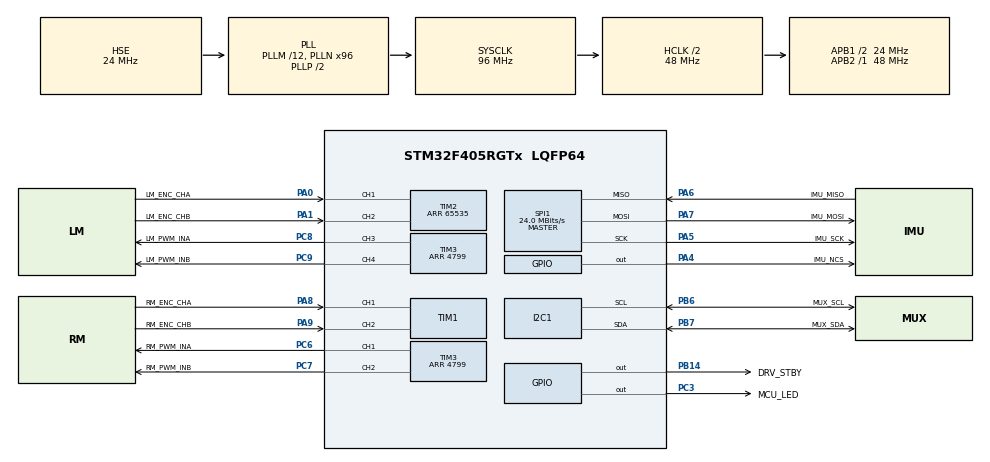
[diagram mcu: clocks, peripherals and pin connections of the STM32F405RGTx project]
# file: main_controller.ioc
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Mcu.Family=STM32F4
Mcu.Name=STM32F405RGTx
Mcu.Package=LQFP64
NVIC.PriorityGroup=NVIC_PRIORITYGROUP_4
PA0-WKUP.GPIO_Label=LM_ENC_CHA
PA0-WKUP.Signal=S_TIM2_CH1_ETR
PA1.GPIO_Label=LM_ENC_CHB
PA1.Signal=S_TIM2_CH2
PA13.Mode=Trace_Asynchronous_SW
PA13.Signal=SYS_JTMS-SWDIO
PA14.Mode=Trace_Asynchronous_SW
PA14.Signal=SYS_JTCK-SWCLK
PA4.GPIO_Label=IMU_NCS
PA4.Signal=GPIO_Output
PA5.GPIO_Label=IMU_SCK
PA5.Mode=Full_Duplex_Master
PA5.Signal=SPI1_SCK
PA6.GPIO_Label=IMU_MISO
PA6.Mode=Full_Duplex_Master
PA6.Signal=SPI1_MISO
PA7.GPIO_Label=IMU_MOSI
PA7.Mode=Full_Duplex_Master
PA7.Signal=SPI1_MOSI
PA8.GPIO_Label=RM_ENC_CHA
PA8.Signal=S_TIM1_CH1
PA9.GPIO_Label=RM_ENC_CHB
PA9.Signal=S_TIM1_CH2
PB14.GPIO_Label=DRV_STBY
PB14.Signal=GPIO_Output
PB3.Mode=Trace_Asynchronous_SW
PB3.Signal=SYS_JTDO-SWO
PB6.GPIO_Label=MUX_SCL
PB6.Mode=I2C
PB6.Signal=I2C1_SCL
PB7.GPIO_Label=MUX_SDA
PB7.Mode=I2C
PB7.Signal=I2C1_SDA
PC3.GPIO_Label=MCU_LED
PC3.Signal=GPIO_Output
PC6.GPIO_Label=RM_PWM_INA
PC6.Signal=S_TIM3_CH1
PC7.GPIO_Label=RM_PWM_INB
PC7.Signal=S_TIM3_CH2
PC8.GPIO_Label=LM_PWM_INA
PC8.Signal=S_TIM3_CH3
PC9.GPIO_Label=LM_PWM_INB
PC9.Signal=S_TIM3_CH4
PH0-OSC_IN.Mode=HSE-External-Oscillator
PH0-OSC_IN.Signal=RCC_OSC_IN
PH1-OSC_OUT.Mode=HSE-External-Oscillator
PH1-OSC_OUT.Signal=RCC_OSC_OUT
ProjectManager.HeapSize=0x200
ProjectManager.StackSize=0x400
ProjectManager.TargetToolchain=CMake
RCC.48MHZClocksFreq_Value=48000000
RCC.AHBCLKDivider=RCC_SYSCLK_DIV2
RCC.AHBFreq_Value=48000000
RCC.APB1CLKDivider=RCC_HCLK_DIV2
RCC.APB1Freq_Value=24000000
RCC.APB1TimFreq_Value=48000000
RCC.APB2Freq_Value=48000000
RCC.APB2TimFreq_Value=48000000
RCC.CortexFreq_Value=48000000
RCC.HCLKFreq_Value=48000000
RCC.HSE_VALUE=24000000
RCC.HSI_VALUE=16000000
RCC.LSE_VALUE=32768
RCC.PLLM=12
RCC.PLLN=96
RCC.PLLSourceVirtual=RCC_PLLSOURCE_HSE
RCC.SYSCLKFreq_VALUE=96000000
RCC.SYSCLKSource=RCC_SYSCLKSOURCE_PLLCLK
RCC.VCOOutputFreq_Value=192000000
SH.S_TIM1_CH1.0=TIM1_CH1,Encoder_Interface
SH.S_TIM1_CH2.0=TIM1_CH2,Encoder_Interface
SH.S_TIM2_CH1_ETR.0=TIM2_CH1,Encoder_Interface
SH.S_TIM2_CH2.0=TIM2_CH2,Encoder_Interface
SH.S_TIM3_CH1.0=TIM3_CH1,PWM Generation1 CH1
SH.S_TIM3_CH2.0=TIM3_CH2,PWM Generation2 CH2
SH.S_TIM3_CH3.0=TIM3_CH3,PWM Generation3 CH3
SH.S_TIM3_CH4.0=TIM3_CH4,PWM Generation4 CH4
SPI1.CalculateBaudRate=24.0 MBits/s
SPI1.Direction=SPI_DIRECTION_2LINES
SPI1.Mode=SPI_MODE_MASTER
SPI1.VirtualType=VM_MASTER
TIM1.EncoderMode=TIM_ENCODERMODE_TI12
TIM2.EncoderMode=TIM_ENCODERMODE_TI12
TIM2.Period=65535
TIM3.Channel-PWM\ Generation1\ CH1=TIM_CHANNEL_1
TIM3.Channel-PWM\ Generation2\ CH2=TIM_CHANNEL_2
TIM3.Channel-PWM\ Generation3\ CH3=TIM_CHANNEL_3
TIM3.Channel-PWM\ Generation4\ CH4=TIM_CHANNEL_4
TIM3.Period=4799
board=custom

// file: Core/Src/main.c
/* USER CODE BEGIN Header */
/**
  ******************************************************************************
  * @file           : main.c
  * @brief          : Main program body
  ******************************************************************************
  * @attention
  *
  * Copyright (c) 2026 STMicroelectronics.
  * All rights reserved.
  *
  * This software is licensed under terms that can be found in the LICENSE file
  * in the root directory of this software component.
  * If no LICENSE file comes with this software, it is provided AS-IS.
  *
  ******************************************************************************
  */
/* USER CODE END Header */
#include "main.h"

/* USER CODE BEGIN Includes */
#include "DRV8833.h"
#include "dwt_timer.h"
#include "straightline_controller.h"
#include "turn_controller.h"
#include "test_harness.h"
#include "tof_sensors.h"
/* USER CODE END Includes */

/* USER CODE BEGIN PD */

/* Test selection, test parameters, and all on-target test routines live in
 * test_harness.h / test_harness.c, not here. main.c only brings up hardware
 * and hands control to TestHarness_RunCycle(). */

/* USER CODE END PD */

I2C_HandleTypeDef hi2c1;

SPI_HandleTypeDef hspi1;

TIM_HandleTypeDef htim1;
TIM_HandleTypeDef htim2;
TIM_HandleTypeDef htim3;

/* USER CODE BEGIN PV */

/* All tm_* live-watch telemetry globals are defined in test_harness.c and
 * declared extern in test_harness.h. Add their names to the "liveWatch"
 * expressions list in .vscode/launch.json to observe them while the robot
 * runs. */

/* USER CODE END PV */

void SystemClock_Config(void);
static void MX_GPIO_Init(void);
static void MX_TIM1_Init(void);
static void MX_TIM2_Init(void);
static void MX_TIM3_Init(void);
static void MX_SPI1_Init(void);
static void MX_I2C1_Init(void);

/* USER CODE BEGIN 0 */

/* All test routines (LED_Blink, Telemetry_Capture, Test_* etc.) moved to
 * test_harness.c. main.c only calls TestHarness_RunCycle() from the loop
 * below. */

/* USER CODE END 0 */

int main(void)
{

  /* MCU Configuration--------------------------------------------------------*/

  /* Reset of all peripherals, Initializes the Flash interface and the Systick. */
  HAL_Init();

  /* Configure the system clock */
  SystemClock_Config();

  /* Initialize all configured peripherals */
  MX_GPIO_Init();
  MX_TIM1_Init();
  MX_TIM2_Init();
  MX_TIM3_Init();
  MX_SPI1_Init();
  MX_I2C1_Init();
  /* USER CODE BEGIN 2 */

  /* Start the quadrature encoder interfaces. CubeMX configures the timers but
   * does not start them, so without this the counters never move. */
  HAL_TIM_Encoder_Start(&htim1, TIM_CHANNEL_ALL);   /* right encoder */
  HAL_TIM_Encoder_Start(&htim2, TIM_CHANNEL_ALL);   /* left encoder  */

  /* Start the four motor PWM channels (2 per motor, IN/IN drive mode). */
  HAL_TIM_PWM_Start(&htim3, TIM_CHANNEL_1);   /* RM_PWM_INA */
  HAL_TIM_PWM_Start(&htim3, TIM_CHANNEL_2);   /* RM_PWM_INB */
  HAL_TIM_PWM_Start(&htim3, TIM_CHANNEL_3);   /* LM_PWM_INA */
  HAL_TIM_PWM_Start(&htim3, TIM_CHANNEL_4);   /* LM_PWM_INB */

  /* Make sure nothing is driven until a test asks for it. */
  Motor_Brake();

  /* Microsecond timebase for the EKF prediction step. Must come before any
   * controller init, since TurnController_Init() times its gyro calibration
   * with it. */
  DWT_Timer_Init();

  /* CubeMX drives IMU_NCS LOW in MX_GPIO_Init(), but SPI chip select must
   * IDLE HIGH or the first transaction is framed wrong. Deassert it before
   * talking to the IMU. */
  HAL_GPIO_WritePin(IMU_NCS_GPIO_Port, IMU_NCS_Pin, GPIO_PIN_SET);
  HAL_Delay(50);

  /* Bring up both controllers. Each pulls its gains from control_config.h.
   * Both call Encoders_Init() and MotorDriver_Enable() internally, which is
   * idempotent, so initialising both here is safe.
   *
   * TurnController_Init() also brings up the IMU and runs the stationary gyro
   * bias calibration, so THE ROBOT MUST BE STILL AND LEVEL AT POWER-ON. */
  StraightlineController_Init();
  tm_imu_ok = TurnController_Init();

  /* Startup indication.
   *   3 slow blinks           = IMU up, bias calibrated, fusion active
   *   3 slow THEN 6 fast      = IMU up but bias calibration was REJECTED.
   *                             Turns still run, but on an unestimated gyro
   *                             bias. Read turn_bias_cal_status for the
   *                             reason (moved during calibration vs. a
   *                             failed gyro read).
   *   6 fast blinks           = IMU not found, running encoder-only */
  if (tm_imu_ok) {
    LED_Blink(3, 300, 300);

    if (!TurnController_IsBiasCalibrated()) {
      LED_Blink(6, 80, 80);
    }
  }
  else {
    LED_Blink(6, 80, 80);
  }

  tm_gyro_bias_dps = TurnController_GetGyroBiasDps();

  /* Bring up the TCA9548A mux and the three VL53L0X ranging sensors.
   *
   * This takes noticeably longer than the other peripherals: each sensor runs
   * reference SPAD management and VHV/phase calibration, so budget ~50-100 ms
   * per sensor.
   *
   * Like the IMU, a failure here is NOT fatal. Nothing in the motion
   * controllers consumes range data yet, so a dead sensor must not stop the
   * robot from driving. 2 fast blinks flags it; tm_tof_ready says which
   * sensors actually came up. */
  if (ToF_Init() != TOF_OK) {
    LED_Blink(2, 80, 80);
  }

  TestHarness_CaptureToFReady();

  /* Settling delay so the robot is not already moving when you take your
   * hand off it. */
  HAL_Delay(2000);

  /* USER CODE END 2 */

  /* Infinite loop */
  while (1)
  {

    /* USER CODE BEGIN 3 */

    /* Runs whichever test ACTIVE_TEST selects (test_harness.h), including
     * its cycle pause. See test_harness.c for the dispatch and routines. */
    TestHarness_RunCycle();
  }
  /* USER CODE END 3 */
}

void SystemClock_Config(void)
{
  RCC_OscInitTypeDef RCC_OscInitStruct = {0};
  RCC_ClkInitTypeDef RCC_ClkInitStruct = {0};

  /** Configure the main internal regulator output voltage
  */
  __HAL_RCC_PWR_CLK_ENABLE();
  __HAL_PWR_VOLTAGESCALING_CONFIG(PWR_REGULATOR_VOLTAGE_SCALE1);

  /** Initializes the RCC Oscillators according to the specified parameters
  * in the RCC_OscInitTypeDef structure.
  */
  RCC_OscInitStruct.OscillatorType = RCC_OSCILLATORTYPE_HSE;
  RCC_OscInitStruct.HSEState = RCC_HSE_ON;
  RCC_OscInitStruct.PLL.PLLState = RCC_PLL_ON;
  RCC_OscInitStruct.PLL.PLLSource = RCC_PLLSOURCE_HSE;
  RCC_OscInitStruct.PLL.PLLM = 12;
  RCC_OscInitStruct.PLL.PLLN = 96;
  RCC_OscInitStruct.PLL.PLLP = RCC_PLLP_DIV2;
  RCC_OscInitStruct.PLL.PLLQ = 4;
  if (HAL_RCC_OscConfig(&RCC_OscInitStruct) != HAL_OK)
  {
    Error_Handler();
  }

  /** Initializes the CPU, AHB and APB buses clocks
  */
  RCC_ClkInitStruct.ClockType = RCC_CLOCKTYPE_HCLK|RCC_CLOCKTYPE_SYSCLK
                              |RCC_CLOCKTYPE_PCLK1|RCC_CLOCKTYPE_PCLK2;
  RCC_ClkInitStruct.SYSCLKSource = RCC_SYSCLKSOURCE_PLLCLK;
  RCC_ClkInitStruct.AHBCLKDivider = RCC_SYSCLK_DIV2;
  RCC_ClkInitStruct.APB1CLKDivider = RCC_HCLK_DIV2;
  RCC_ClkInitStruct.APB2CLKDivider = RCC_HCLK_DIV1;

  if (HAL_RCC_ClockConfig(&RCC_ClkInitStruct, FLASH_LATENCY_1) != HAL_OK)
  {
    Error_Handler();
  }
}

static void MX_I2C1_Init(void)
{

  hi2c1.Instance = I2C1;
  hi2c1.Init.ClockSpeed = 100000;
  hi2c1.Init.DutyCycle = I2C_DUTYCYCLE_2;
  hi2c1.Init.OwnAddress1 = 0;
  hi2c1.Init.AddressingMode = I2C_ADDRESSINGMODE_7BIT;
  hi2c1.Init.DualAddressMode = I2C_DUALADDRESS_DISABLE;
  hi2c1.Init.OwnAddress2 = 0;
  hi2c1.Init.GeneralCallMode = I2C_GENERALCALL_DISABLE;
  hi2c1.Init.NoStretchMode = I2C_NOSTRETCH_DISABLE;
  if (HAL_I2C_Init(&hi2c1) != HAL_OK)
  {
    Error_Handler();
  }

}

static void MX_SPI1_Init(void)
{

  /* SPI1 parameter configuration*/
  hspi1.Instance = SPI1;
  hspi1.Init.Mode = SPI_MODE_MASTER;
  hspi1.Init.Direction = SPI_DIRECTION_2LINES;
  hspi1.Init.DataSize = SPI_DATASIZE_8BIT;
  hspi1.Init.CLKPolarity = SPI_POLARITY_LOW;
  hspi1.Init.CLKPhase = SPI_PHASE_1EDGE;
  hspi1.Init.NSS = SPI_NSS_SOFT;
  hspi1.Init.BaudRatePrescaler = SPI_BAUDRATEPRESCALER_2;
  hspi1.Init.FirstBit = SPI_FIRSTBIT_MSB;
  hspi1.Init.TIMode = SPI_TIMODE_DISABLE;
  hspi1.Init.CRCCalculation = SPI_CRCCALCULATION_DISABLE;
  hspi1.Init.CRCPolynomial = 10;
  if (HAL_SPI_Init(&hspi1) != HAL_OK)
  {
    Error_Handler();
  }

}

static void MX_TIM1_Init(void)
{

  TIM_Encoder_InitTypeDef sConfig = {0};
  TIM_MasterConfigTypeDef sMasterConfig = {0};

  htim1.Instance = TIM1;
  htim1.Init.Prescaler = 0;
  htim1.Init.CounterMode = TIM_COUNTERMODE_UP;
  htim1.Init.Period = 65535;
  htim1.Init.ClockDivision = TIM_CLOCKDIVISION_DIV1;
  htim1.Init.RepetitionCounter = 0;
  htim1.Init.AutoReloadPreload = TIM_AUTORELOAD_PRELOAD_DISABLE;
  sConfig.EncoderMode = TIM_ENCODERMODE_TI12;
  sConfig.IC1Polarity = TIM_ICPOLARITY_RISING;
  sConfig.IC1Selection = TIM_ICSELECTION_DIRECTTI;
  sConfig.IC1Prescaler = TIM_ICPSC_DIV1;
  sConfig.IC1Filter = 0;
  sConfig.IC2Polarity = TIM_ICPOLARITY_RISING;
  sConfig.IC2Selection = TIM_ICSELECTION_DIRECTTI;
  sConfig.IC2Prescaler = TIM_ICPSC_DIV1;
  sConfig.IC2Filter = 0;
  if (HAL_TIM_Encoder_Init(&htim1, &sConfig) != HAL_OK)
  {
    Error_Handler();
  }
  sMasterConfig.MasterOutputTrigger = TIM_TRGO_RESET;
  sMasterConfig.MasterSlaveMode = TIM_MASTERSLAVEMODE_DISABLE;
  if (HAL_TIMEx_MasterConfigSynchronization(&htim1, &sMasterConfig) != HAL_OK)
  {
    Error_Handler();
  }

}

static void MX_TIM2_Init(void)
{

  TIM_Encoder_InitTypeDef sConfig = {0};
  TIM_MasterConfigTypeDef sMasterConfig = {0};

  htim2.Instance = TIM2;
  htim2.Init.Prescaler = 0;
  htim2.Init.CounterMode = TIM_COUNTERMODE_UP;
  htim2.Init.Period = 65535;
  htim2.Init.ClockDivision = TIM_CLOCKDIVISION_DIV1;
  htim2.Init.AutoReloadPreload = TIM_AUTORELOAD_PRELOAD_DISABLE;
  sConfig.EncoderMode = TIM_ENCODERMODE_TI12;
  sConfig.IC1Polarity = TIM_ICPOLARITY_RISING;
  sConfig.IC1Selection = TIM_ICSELECTION_DIRECTTI;
  sConfig.IC1Prescaler = TIM_ICPSC_DIV1;
  sConfig.IC1Filter = 0;
  sConfig.IC2Polarity = TIM_ICPOLARITY_RISING;
  sConfig.IC2Selection = TIM_ICSELECTION_DIRECTTI;
  sConfig.IC2Prescaler = TIM_ICPSC_DIV1;
  sConfig.IC2Filter = 0;
  if (HAL_TIM_Encoder_Init(&htim2, &sConfig) != HAL_OK)
  {
    Error_Handler();
  }
  sMasterConfig.MasterOutputTrigger = TIM_TRGO_RESET;
  sMasterConfig.MasterSlaveMode = TIM_MASTERSLAVEMODE_DISABLE;
  if (HAL_TIMEx_MasterConfigSynchronization(&htim2, &sMasterConfig) != HAL_OK)
  {
    Error_Handler();
  }

}

static void MX_TIM3_Init(void)
{

  TIM_MasterConfigTypeDef sMasterConfig = {0};
  TIM_OC_InitTypeDef sConfigOC = {0};

  htim3.Instance = TIM3;
  htim3.Init.Prescaler = 0;
  htim3.Init.CounterMode = TIM_COUNTERMODE_UP;
  htim3.Init.Period = 4799;
  htim3.Init.ClockDivision = TIM_CLOCKDIVISION_DIV1;
  htim3.Init.AutoReloadPreload = TIM_AUTORELOAD_PRELOAD_DISABLE;
  if (HAL_TIM_PWM_Init(&htim3) != HAL_OK)
  {
    Error_Handler();
  }
  sMasterConfig.MasterOutputTrigger = TIM_TRGO_RESET;
  sMasterConfig.MasterSlaveMode = TIM_MASTERSLAVEMODE_DISABLE;
  if (HAL_TIMEx_MasterConfigSynchronization(&htim3, &sMasterConfig) != HAL_OK)
  {
    Error_Handler();
  }
  sConfigOC.OCMode = TIM_OCMODE_PWM1;
  sConfigOC.Pulse = 0;
  sConfigOC.OCPolarity = TIM_OCPOLARITY_HIGH;
  sConfigOC.OCFastMode = TIM_OCFAST_DISABLE;
  if (HAL_TIM_PWM_ConfigChannel(&htim3, &sConfigOC, TIM_CHANNEL_1) != HAL_OK)
  {
    Error_Handler();
  }
  if (HAL_TIM_PWM_ConfigChannel(&htim3, &sConfigOC, TIM_CHANNEL_2) != HAL_OK)
  {
    Error_Handler();
  }
  if (HAL_TIM_PWM_ConfigChannel(&htim3, &sConfigOC, TIM_CHANNEL_3) != HAL_OK)
  {
    Error_Handler();
  }
  if (HAL_TIM_PWM_ConfigChannel(&htim3, &sConfigOC, TIM_CHANNEL_4) != HAL_OK)
  {
    Error_Handler();
  }
  HAL_TIM_MspPostInit(&htim3);

}

static void MX_GPIO_Init(void)
{
  GPIO_InitTypeDef GPIO_InitStruct = {0};

  /* GPIO Ports Clock Enable */
  __HAL_RCC_GPIOH_CLK_ENABLE();
  __HAL_RCC_GPIOC_CLK_ENABLE();
  __HAL_RCC_GPIOA_CLK_ENABLE();
  __HAL_RCC_GPIOB_CLK_ENABLE();

  /*Configure GPIO pin Output Level */
  HAL_GPIO_WritePin(MCU_LED_GPIO_Port, MCU_LED_Pin, GPIO_PIN_RESET);

  /*Configure GPIO pin Output Level */
  HAL_GPIO_WritePin(IMU_NCS_GPIO_Port, IMU_NCS_Pin, GPIO_PIN_RESET);

  /*Configure GPIO pin Output Level */
  HAL_GPIO_WritePin(DRV_STBY_GPIO_Port, DRV_STBY_Pin, GPIO_PIN_RESET);

  /*Configure GPIO pin : MCU_LED_Pin */
  GPIO_InitStruct.Pin = MCU_LED_Pin;
  GPIO_InitStruct.Mode = GPIO_MODE_OUTPUT_PP;
  GPIO_InitStruct.Pull = GPIO_NOPULL;
  GPIO_InitStruct.Speed = GPIO_SPEED_FREQ_LOW;
  HAL_GPIO_Init(MCU_LED_GPIO_Port, &GPIO_InitStruct);

  /*Configure GPIO pin : IMU_NCS_Pin */
  GPIO_InitStruct.Pin = IMU_NCS_Pin;
  GPIO_InitStruct.Mode = GPIO_MODE_OUTPUT_PP;
  GPIO_InitStruct.Pull = GPIO_NOPULL;
  GPIO_InitStruct.Speed = GPIO_SPEED_FREQ_LOW;
  HAL_GPIO_Init(IMU_NCS_GPIO_Port, &GPIO_InitStruct);

  /*Configure GPIO pin : DRV_STBY_Pin */
  GPIO_InitStruct.Pin = DRV_STBY_Pin;
  GPIO_InitStruct.Mode = GPIO_MODE_OUTPUT_PP;
  GPIO_InitStruct.Pull = GPIO_NOPULL;
  GPIO_InitStruct.Speed = GPIO_SPEED_FREQ_LOW;
  HAL_GPIO_Init(DRV_STBY_GPIO_Port, &GPIO_InitStruct);

}

void Error_Handler(void)
{
  __disable_irq();
  while (1)
  {
  }
}
